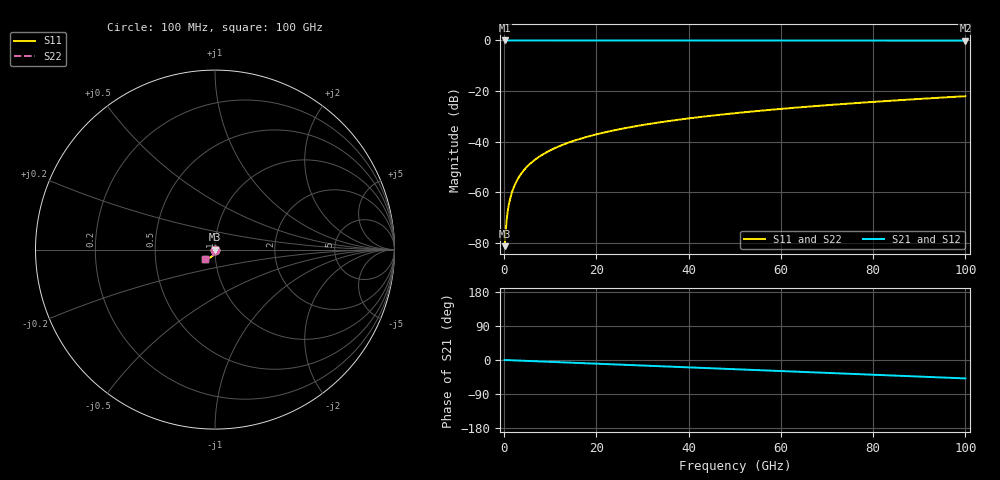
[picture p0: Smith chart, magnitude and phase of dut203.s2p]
! Touchstone file exported from HFSS 2026.1.0
!  File:  C:/ffzhzh/LocalFiles/Ansys_Project_Files/temp_train_TSV_203_1783507495_55944.aedt
!  Generated:  06:46:06 PM Jul  8, 2026
!  Design:  TSV
!  Project:  temp_train_TSV_203_1783507495_55944
! Variables:
!  h_bsmrdl = 2um
!  h_ox = 20um
!  h_rdl = 5um
!  h_sub = 97.81um
!  h_tmrdl = 5um
!  h_tsv = 97.81um
!  h_via = 3um
!  l_bsmrdl = 300um
!  l_sub = 429.8um
!  l_tmrdl = 200um
!  m_sub = 200um
!  pitch = 54.98um
!  r_tsv = 14.9um
!  s_tmrdl = 10um
!  w_bsmrdl = 18um
!  w_sub = 500um
!  w_tmrdl = 12um
!  x_tsv_center1 = 206um
!  x_tsv_center2 = 524um
!  x_tsv_center3 = 736um
!  x_tsv_center4 = 1054um
!  x_tsv_center5 = 1266um
!  x_tsv_center6 = 1584um
# GHz S MA R 50.000000
! Terminal data exported
! Port[1] = TSV1_1_T1
! Port[2] = TSV1_1_T2
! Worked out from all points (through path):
!   1000 points, 100 MHz to 100 GHz, reference 50 ohm
!   highest |S21| = 0.00 dB at 100 MHz (marker M1); lowest = -0.1 dB at 100 GHz (marker M2)
!   group delay of S21, straight-line fit = 1.35 ps
!   lowest |S11| = -81.4 dB at 100 MHz (marker M3), VSWR 1.00, Z = 50 - j0.00204 ohm
!   |S11| at or under -10 dB: start of sweep to end of sweep
!   |S22| runs from -81.4 to -22.1 dB; largest |S21 - S12| = 4.5e-15
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0.1  8.533e-05 -13.8  0.9999 -0.1  0.9999 -0.1  8.533e-05 -13.8
! Gamma 0 0 0 0
! Port Impedance 50 0 50 0
0.4  0.0002011 -40.7  0.9998 -0.2  0.9998 -0.2  0.0002011 -40.7
0.8  0.0004328 -57.8  0.9998 -0.4  0.9998 -0.4  0.0004328 -57.8
1  0.0005555 -62.5  0.9997 -0.5  0.9997 -0.5  0.0005555 -62.5
1.3  0.0007419 -67.4  0.9997 -0.6  0.9997 -0.6  0.0007419 -67.4
1.6  0.0009308 -70.5  0.9997 -0.8  0.9997 -0.8  0.0009308 -70.5
2.1  0.001251 -74.0  0.9996 -1.0  0.9996 -1.0  0.001251 -74.0
2.6  0.001578 -76.3  0.9996 -1.3  0.9996 -1.3  0.001578 -76.3
3.3  0.002046 -78.6  0.9995 -1.6  0.9995 -1.6  0.002046 -78.6
4.1  0.00259 -80.5  0.9995 -2.0  0.9995 -2.0  0.00259 -80.5
5.1  0.003278 -82.4  0.9994 -2.5  0.9994 -2.5  0.003278 -82.4
6.2  0.004041 -84.0  0.9994 -3.0  0.9994 -3.0  0.004041 -84.0
9  0.006002 -87.0  0.9992 -4.4  0.9992 -4.4  0.006002 -87.1
12.5  0.008491 -89.9  0.999 -6.1  0.999 -6.1  0.008491 -89.9
16.8  0.01158 -92.9  0.9989 -8.1  0.9989 -8.1  0.01158 -92.9
24.1  0.01688 -97.4  0.9986 -11.7  0.9986 -11.7  0.01688 -97.4
33.4  0.02376 -102.6  0.9982 -16.2  0.9982 -16.2  0.02376 -102.6
41.2  0.02964 -106.8  0.9979 -19.9  0.9979 -19.9  0.02964 -106.8
50.1  0.03649 -111.5  0.9974 -24.3  0.9974 -24.3  0.03648 -111.5
66.7  0.04974 -120.1  0.9965 -32.3  0.9965 -32.3  0.04974 -120.1
83.4  0.06388 -128.6  0.9953 -40.5  0.9953 -40.5  0.06388 -128.7
100  0.07896 -137.2  0.9936 -48.6  0.9936 -48.6  0.07896 -137.3
